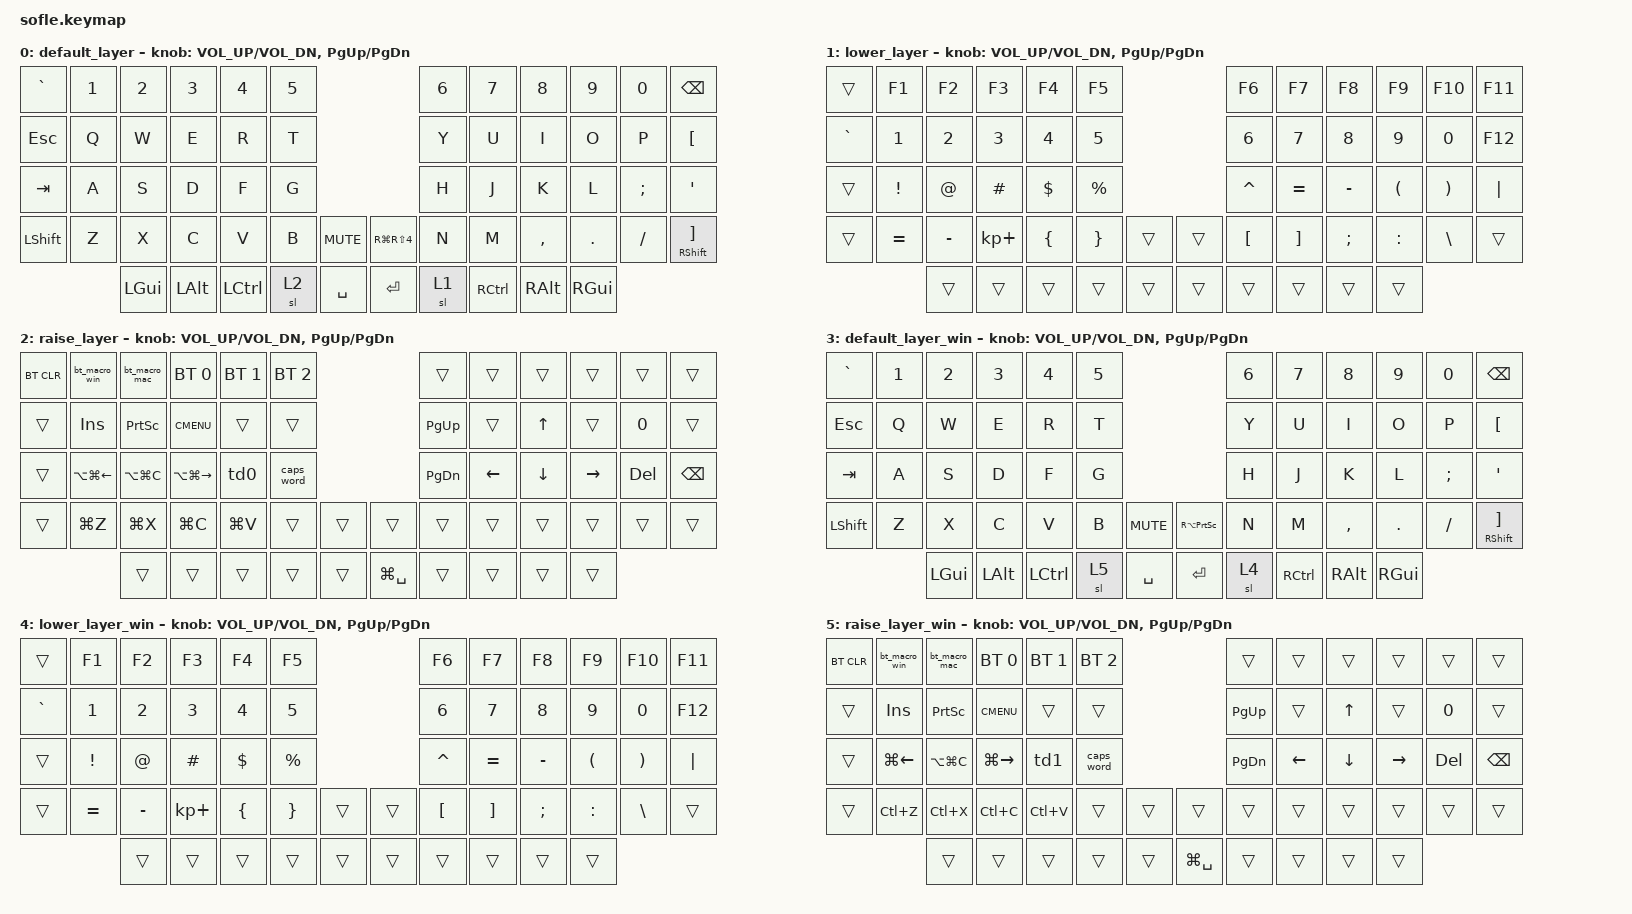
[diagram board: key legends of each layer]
/*
 * Copyright (c) 2020 The ZMK Contributors
 *
 * SPDX-License-Identifier: MIT
 */


#include <behaviors.dtsi>
#include <dt-bindings/zmk/bt.h>
#include <dt-bindings/zmk/ext_power.h>
#include <dt-bindings/zmk/keys.h>
#include <dt-bindings/zmk/outputs.h>
#include <dt-bindings/zmk/rgb.h>

&led_strip {
    chain-length = <35>;
};

&left_encoder {
    resolution = <2>;
};

/ {
    behaviors {
        td0: search_or_full_screen {
            compatible = "zmk,behavior-tap-dance";
            #binding-cells = <0>;
            tapping-term-ms = <200>;
            bindings = <&kp LG(F)>, <&kp LA(LG(F))>;
        };
        td1: search_or_full_screen_win {
            compatible = "zmk,behavior-tap-dance";
            #binding-cells = <0>;
            tapping-term-ms = <200>;
            bindings = <&kp LC(F)>, <&kp LG(UP)>;
        };
    };

    macros {
       bt_macro_mac: bt_macro_mac {
            label = "bt_macro_mac";
            compatible = "zmk,behavior-macro";
            #binding-cells = <0>;
            wait-ms = <0>;
            tap-ms = <0>;
            bindings = <&to 0>, <&bt BT_SEL 1>;
       };
       bt_macro_win: bt_macro_win {
            label = "bt_macro_win";
            compatible = "zmk,behavior-macro";
            #binding-cells = <0>;
            wait-ms = <0>;
            tap-ms = <0>;
            bindings = <&to 3>, <&bt BT_SEL 0>;
       };
    };

    keymap {
        compatible = "zmk,keymap";

        // LAYER 0 base_mac
        default_layer {
// ------------------------------------------------------------------------------------------------------------
// |  `    |  1  |  2  |  3   |  4   |  5   |                   |  6   |  7    |  8    |  9   |   0   | BKSPC      |
// |  ESC  |  Q  |  W  |  E   |  R   |  T   |                   |  Y   |  U    |  I    |  O   |   P   | [{         |
// |  TAB  |  A  |  S  |  D   |  F   |  G   |                   |  H   |  J    |  K    |  L   |   ;   |   '        |
// | SHIFT |  Z  |  X  |  C   |  V   |  B   |  MUTE  |  | SCST  |  N   |  M    |  ,    |  .   |   /   | SHIFT ]}   |
//               | GUI | ALT  | CTRL | RAISE|  SPACE |  | ENTER | LOWER | CTRL  | ALT   | GUI  |
            bindings = <
&kp GRAVE &kp N1 &kp N2   &kp N3   &kp N4    &kp N5                             &kp N6 &kp N7    &kp N8    &kp N9   &kp N0   &kp BSPC
&kp ESC   &kp Q  &kp W    &kp E    &kp R     &kp T                              &kp Y  &kp U     &kp I     &kp O    &kp P    &kp LBKT
&kp TAB   &kp A  &kp S    &kp D    &kp F     &kp G                              &kp H  &kp J     &kp K     &kp L    &kp SEMI &kp SQT
&kp LSHFT &kp Z  &kp X    &kp C    &kp V     &kp B  &kp C_MUTE   &kp RG(RS(N4)) &kp N  &kp M     &kp COMMA &kp DOT  &kp FSLH &mt RSHFT RBKT 
                 &kp LGUI &kp LALT &kp LCTRL &sl 2  &kp SPACE    &kp RET        &sl 1  &kp RCTRL &kp RALT  &kp RGUI
            >;

            sensor-bindings = <&inc_dec_kp C_VOL_UP C_VOL_DN &inc_dec_kp PG_UP PG_DN>;
        };

        // LAYER 1 lower_mac
        lower_layer {
// TODO: Some binds are waiting for shifted keycode support.
// ------------------------------------------------------------------------------------------------------------
// |       |  F1 |  F2 |  F3  |  F4  |  F5  |                   |  F6  |  F7   |  F8   |  F9  |  F10  |  F11  |
// | `     |   1 |   2 |   3  |   4  |   5  |                   |   6  |   7   |   8   |   9  |    0  |  F12  |
// |       |  !  |  @  |  #   |  $   |  %   |                   |  ^   |  =    |  -    |  (   |   )   |   |   |
// |       |  =  |  -  |  +   |  {   |  }   |        |  |       |  [   |  ]    |  ;    |  :   |   \   |       |
//               |     |      |      |      |        |  |       |      |       |       |      |
            bindings = <
&trans    &kp F1    &kp F2    &kp F3      &kp F4    &kp F5                    &kp F6    &kp F7    &kp F8    &kp F9    &kp F10   &kp F11
&kp GRAVE &kp N1    &kp N2    &kp N3      &kp N4    &kp N5                    &kp N6    &kp N7    &kp N8    &kp N9    &kp N0    &kp F12
&trans    &kp EXCL  &kp AT    &kp HASH    &kp DLLR  &kp PRCNT                 &kp CARET &kp EQUAL &kp MINUS &kp LPAR  &kp RPAR  &kp PIPE
&trans    &kp EQUAL &kp MINUS &kp KP_PLUS &kp LBRC  &kp RBRC  &trans   &trans &kp LBKT  &kp RBKT  &kp SEMI  &kp COLON &kp BSLH  &trans
                    &trans    &trans      &trans    &trans    &trans   &trans &trans    &trans    &trans    &trans
            >;

            sensor-bindings = <&inc_dec_kp C_VOL_UP C_VOL_DN &inc_dec_kp PG_UP PG_DN>;
        };

        // LAYER 2 raise_mac
        raise_layer {
// ------------------------------------------------------------------------------------------------------------
// |BTCLR| bt_macro_win  | bt_macro_mac  |  BT3  |  BT4  |  BT5 |                |      |      |       |      |       |       |
// |     | INS           | PSCR          | GUI   |       |      |                | PGUP |      |   ^   |      |       |       |
// |     | winl          | winc          | winr  | sOf   | CAPS |                | PGDN |   <- |   v   |  ->  |  DEL  | BKSPC |
// |     | UNDO          | CUT           | COPY  | PASTE |      |      |  |      |      |      |       |      |       |       |
//                       |               |       |       |      |      |  |  ms  |      |      |       |      |
            bindings = <
&bt BT_CLR &bt_macro_win            &bt_macro_mac            &bt BT_SEL 0             &bt BT_SEL 1 &bt BT_SEL 2                            &trans    &trans    &trans   &trans    &trans  &trans
&trans     &kp INS                  &kp PSCRN                &kp K_CMENU              &trans       &trans                                  &kp PG_UP &trans    &kp UP   &trans    &kp N0  &trans
&trans     &kp LA(LG(LEFT_ARROW))   &kp LA(LG(C))            &kp LA(LG(RIGHT_ARROW))  &td0         &caps_word                              &kp PG_DN &kp LEFT  &kp DOWN &kp RIGHT &kp DEL &kp BSPC
&trans     &kp LG(Z)                &kp LG(X)                &kp LG(C)                &kp LG(V)    &trans      &trans      &trans          &trans    &trans    &trans   &trans    &trans  &trans
                                    &trans                   &trans                   &trans       &trans      &trans      &kp LG(SPACE)   &trans    &trans    &trans   &trans
            >;

            sensor-bindings = <&inc_dec_kp C_VOL_UP C_VOL_DN &inc_dec_kp PG_UP PG_DN>;
        };

        // LAYER 3 base_win
        default_layer_win {
// ------------------------------------------------------------------------------------------------------------
// |  `    |  1  |  2  |  3   |  4   |  5   |                   |  6   |  7    |  8    |  9   |   0   | BKSPC      |
// |  ESC  |  Q  |  W  |  E   |  R   |  T   |                   |  Y   |  U    |  I    |  O   |   P   | [{         |
// |  TAB  |  A  |  S  |  D   |  F   |  G   |                   |  H   |  J    |  K    |  L   |   ;   |   '        |
// | SHIFT |  Z  |  X  |  C   |  V   |  B   |  MUTE  |  | SCST  |  N   |  M    |  ,    |  .   |   /   | SHIFT ]}   |
//               | GUI | ALT  | CTRL | RAISE|  SPACE |  | ENTER | LOWER | CTRL  | ALT   | GUI  |
            bindings = <
&kp GRAVE &kp N1 &kp N2   &kp N3   &kp N4    &kp N5                             &kp N6 &kp N7    &kp N8    &kp N9   &kp N0   &kp BSPC
&kp ESC   &kp Q  &kp W    &kp E    &kp R     &kp T                              &kp Y  &kp U     &kp I     &kp O    &kp P    &kp LBKT
&kp TAB   &kp A  &kp S    &kp D    &kp F     &kp G                              &kp H  &kp J     &kp K     &kp L    &kp SEMI &kp SQT
&kp LSHFT &kp Z  &kp X    &kp C    &kp V     &kp B  &kp C_MUTE   &kp RA(PSCRN)  &kp N  &kp M     &kp COMMA &kp DOT  &kp FSLH &mt RSHFT RBKT 
                 &kp LGUI &kp LALT &kp LCTRL &sl 5  &kp SPACE    &kp RET        &sl 4  &kp RCTRL &kp RALT  &kp RGUI
            >;

            sensor-bindings = <&inc_dec_kp C_VOL_UP C_VOL_DN &inc_dec_kp PG_UP PG_DN>;
        };

        // LAYER 4 lower_win
        lower_layer_win {
// TODO: Some binds are waiting for shifted keycode support.
// ------------------------------------------------------------------------------------------------------------
// |       |  F1 |  F2 |  F3  |  F4  |  F5  |                   |  F6  |  F7   |  F8   |  F9  |  F10  |  F11  |
// | `     |   1 |   2 |   3  |   4  |   5  |                   |   6  |   7   |   8   |   9  |    0  |  F12  |
// |       |  !  |  @  |  #   |  $   |  %   |                   |  ^   |  =    |  -    |  (   |   )   |   |   |
// |       |  =  |  -  |  +   |  {   |  }   |        |  |       |  [   |  ]    |  ;    |  :   |   \   |       |
//               |     |      |      |      |        |  |       |      |       |       |      |
            bindings = <
&trans    &kp F1    &kp F2    &kp F3      &kp F4    &kp F5                    &kp F6    &kp F7    &kp F8    &kp F9    &kp F10   &kp F11
&kp GRAVE &kp N1    &kp N2    &kp N3      &kp N4    &kp N5                    &kp N6    &kp N7    &kp N8    &kp N9    &kp N0    &kp F12
&trans    &kp EXCL  &kp AT    &kp HASH    &kp DLLR  &kp PRCNT                 &kp CARET &kp EQUAL &kp MINUS &kp LPAR  &kp RPAR  &kp PIPE
&trans    &kp EQUAL &kp MINUS &kp KP_PLUS &kp LBRC  &kp RBRC  &trans   &trans &kp LBKT  &kp RBKT  &kp SEMI  &kp COLON &kp BSLH  &trans
                    &trans    &trans      &trans    &trans    &trans   &trans &trans    &trans    &trans    &trans
            >;

            sensor-bindings = <&inc_dec_kp C_VOL_UP C_VOL_DN &inc_dec_kp PG_UP PG_DN>;
        };

        // LAYER 5 raise_win
        raise_layer_win {
// ------------------------------------------------------------------------------------------------------------
// |BTCLR| bt_macro_win  | bt_macro_mac  |  BT3  |  BT4  |  BT5 |                |      |      |       |      |       |       |
// |     | INS           | PSCR          | GUI   |       |      |                | PGUP |      |   ^   |      |       |       |
// |     | winl          | winc          | winr  | sOf   | CAPS |                | PGDN |   <- |   v   |  ->  |  DEL  | BKSPC |
// |     | UNDO          | CUT           | COPY  | PASTE |      |      |  |      |      |      |       |      |       |       |
//                       |               |       |       |      |      |  |  ms  |      |      |       |      |
            bindings = <
&bt BT_CLR &bt_macro_win            &bt_macro_mac            &bt BT_SEL 0             &bt BT_SEL 1 &bt BT_SEL 2                            &trans    &trans    &trans   &trans    &trans  &trans
&trans     &kp INS                  &kp PSCRN                &kp K_CMENU              &trans       &trans                                  &kp PG_UP &trans    &kp UP   &trans    &kp N0  &trans
&trans     &kp LG(LEFT_ARROW)       &kp LA(LG(C))            &kp LG(RIGHT_ARROW)      &td1         &caps_word                              &kp PG_DN &kp LEFT  &kp DOWN &kp RIGHT &kp DEL &kp BSPC
&trans     &kp LC(Z)                &kp LC(X)                &kp LC(C)                &kp LC(V)    &trans      &trans      &trans          &trans    &trans    &trans   &trans    &trans  &trans
                                    &trans                   &trans                   &trans       &trans      &trans      &kp LG(SPACE)   &trans    &trans    &trans   &trans
            >;

            sensor-bindings = <&inc_dec_kp C_VOL_UP C_VOL_DN &inc_dec_kp PG_UP PG_DN>;
        };
    };
};
